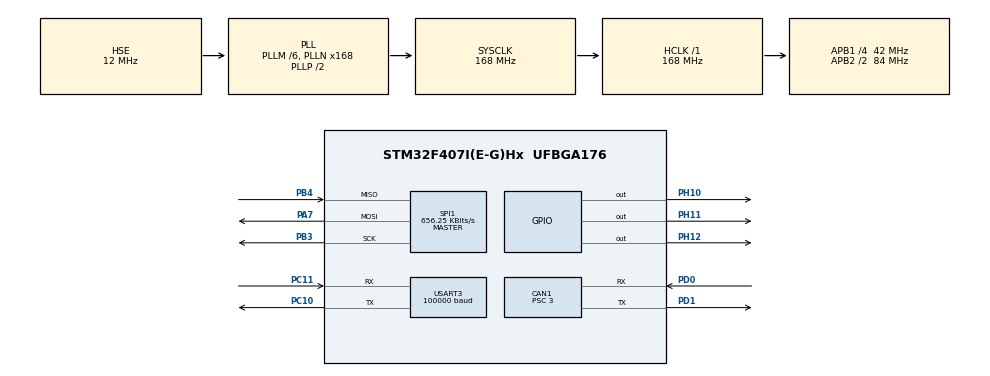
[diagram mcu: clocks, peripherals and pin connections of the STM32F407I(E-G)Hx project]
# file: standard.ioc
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CAN1.BS1=CAN_BS1_9TQ
CAN1.BS2=CAN_BS2_4TQ
CAN1.CalculateBaudRate=1000000
CAN1.CalculateTimeBit=1000
CAN1.CalculateTimeQuantum=71.42857142857143
CAN1.Prescaler=3
CAN1.TXFP=ENABLE
Dma.Request0=USART3_RX
Dma.USART3_RX.0.Direction=DMA_PERIPH_TO_MEMORY
Dma.USART3_RX.0.FIFOMode=DMA_FIFOMODE_DISABLE
Dma.USART3_RX.0.Instance=DMA1_Stream1
Dma.USART3_RX.0.MemDataAlignment=DMA_MDATAALIGN_BYTE
Dma.USART3_RX.0.MemInc=DMA_MINC_ENABLE
Dma.USART3_RX.0.Mode=DMA_CIRCULAR
Dma.USART3_RX.0.PeriphDataAlignment=DMA_PDATAALIGN_BYTE
Dma.USART3_RX.0.PeriphInc=DMA_PINC_DISABLE
Dma.USART3_RX.0.Priority=DMA_PRIORITY_VERY_HIGH
IWDG.Prescaler=IWDG_PRESCALER_64
IWDG.Reload=500
Mcu.Family=STM32F4
Mcu.Name=STM32F407I(E-G)Hx
Mcu.Package=UFBGA176
NVIC.CAN1_RX0_IRQn=true\:1\:0\:true\:false\:true\:true\:true
NVIC.CAN1_TX_IRQn=true\:1\:0\:true\:false\:true\:true\:true
NVIC.DMA1_Stream1_IRQn=true\:0\:0\:false\:false\:true\:false\:true
NVIC.PriorityGroup=NVIC_PRIORITYGROUP_4
NVIC.TIM6_DAC_IRQn=true\:1\:0\:true\:false\:true\:true\:true
NVIC.USART3_IRQn=true\:0\:0\:false\:false\:true\:true\:true
PA7.Mode=Full_Duplex_Master
PA7.Signal=SPI1_MOSI
PB3.Mode=Full_Duplex_Master
PB3.Signal=SPI1_SCK
PB4.Mode=Full_Duplex_Master
PB4.Signal=SPI1_MISO
PC10.Mode=Asynchronous
PC10.Signal=USART3_TX
PC11.Mode=Asynchronous
PC11.Signal=USART3_RX
PD0.Mode=CAN_Activate
PD0.Signal=CAN1_RX
PD1.Mode=CAN_Activate
PD1.Signal=CAN1_TX
PH0-OSC_IN.Mode=HSE-External-Oscillator
PH0-OSC_IN.Signal=RCC_OSC_IN
PH1-OSC_OUT.Mode=HSE-External-Oscillator
PH1-OSC_OUT.Signal=RCC_OSC_OUT
PH10.Signal=GPIO_Output
PH11.Signal=GPIO_Output
PH12.Signal=GPIO_Output
ProjectManager.HeapSize=0x200
ProjectManager.StackSize=0x400
ProjectManager.TargetToolchain=MDK-ARM V5
RCC.48MHZClocksFreq_Value=84000000
RCC.AHBFreq_Value=168000000
RCC.APB1CLKDivider=RCC_HCLK_DIV4
RCC.APB1Freq_Value=42000000
RCC.APB1TimFreq_Value=84000000
RCC.APB2CLKDivider=RCC_HCLK_DIV2
RCC.APB2Freq_Value=84000000
RCC.APB2TimFreq_Value=168000000
RCC.CortexFreq_Value=168000000
RCC.HCLKFreq_Value=168000000
RCC.HSE_VALUE=12000000
RCC.HSI_VALUE=16000000
RCC.LSE_VALUE=32768
RCC.PLLM=6
RCC.PLLN=168
RCC.PLLSourceVirtual=RCC_PLLSOURCE_HSE
RCC.SYSCLKFreq_VALUE=168000000
RCC.SYSCLKSource=RCC_SYSCLKSOURCE_PLLCLK
RCC.VCOOutputFreq_Value=336000000
SPI1.BaudRatePrescaler=SPI_BAUDRATEPRESCALER_128
SPI1.CalculateBaudRate=656.25 KBits/s
SPI1.Direction=SPI_DIRECTION_2LINES
SPI1.Mode=SPI_MODE_MASTER
SPI1.VirtualType=VM_MASTER
TIM6.AutoReloadPreload=TIM_AUTORELOAD_PRELOAD_DISABLE
TIM6.Period=1000-1
TIM6.Prescaler=84-1
USART3.BaudRate=100000
USART3.Mode=MODE_RX
USART3.Parity=PARITY_EVEN
USART3.VirtualMode=VM_ASYNC
USART3.WordLength=WORDLENGTH_9B
VP_IWDG_VS_IWDG.Mode=IWDG_Activate
VP_TIM6_VS_ClockSourceINT.Mode=Enable_Timer
board=custom

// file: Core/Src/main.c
/* USER CODE BEGIN Header */
/**
  ******************************************************************************
  * @file           : main.c
  * @brief          : Main program body
  ******************************************************************************
  * @attention
  *
  * Copyright (c) 2022 STMicroelectronics.
  * All rights reserved.
  *
  * This software is licensed under terms that can be found in the LICENSE file
  * in the root directory of this software component.
  * If no LICENSE file comes with this software, it is provided AS-IS.
  *
  ******************************************************************************
  */
/* USER CODE END Header */
#include "main.h"
#include "can.h"
#include "dma.h"
#include "iwdg.h"
#include "spi.h"
#include "tim.h"
#include "usart.h"
#include "gpio.h"

/* USER CODE BEGIN Includes */
#include "control_task.h"
#include "chassis_task.h"
#include "mode_task.h"
#include "imu_task.h"
#include "remote_ctrl.h"
#include "can_receive.h"
#include "bmi_receive.h"
#include "pid.h"
/* USER CODE END Includes */

void SystemClock_Config(void);

int main(void)
{

  /* MCU Configuration--------------------------------------------------------*/

  /* Reset of all peripherals, Initializes the Flash interface and the Systick. */
  HAL_Init();

  /* Configure the system clock */
  SystemClock_Config();

  /* Initialize all configured peripherals */
  MX_GPIO_Init();
  MX_DMA_Init();
  MX_CAN1_Init();
  MX_TIM6_Init();
  MX_USART3_UART_Init();
  MX_IWDG_Init();
  MX_SPI1_Init();
  /* USER CODE BEGIN 2 */
  Dbus_Init();
  PID_Init();
  BMI088_Init();
  CAN_Receive_Init();
  Mode_Init();
  Control_Init();

  /* USER CODE END 2 */

  /* Infinite loop */
  while (1)
  {

  }
}

void SystemClock_Config(void)
{
  RCC_OscInitTypeDef RCC_OscInitStruct = {0};
  RCC_ClkInitTypeDef RCC_ClkInitStruct = {0};

  /** Configure the main internal regulator output voltage
  */
  __HAL_RCC_PWR_CLK_ENABLE();
  __HAL_PWR_VOLTAGESCALING_CONFIG(PWR_REGULATOR_VOLTAGE_SCALE1);
  /** Initializes the RCC Oscillators according to the specified parameters
  * in the RCC_OscInitTypeDef structure.
  */
  RCC_OscInitStruct.OscillatorType = RCC_OSCILLATORTYPE_LSI|RCC_OSCILLATORTYPE_HSE;
  RCC_OscInitStruct.HSEState = RCC_HSE_ON;
  RCC_OscInitStruct.LSIState = RCC_LSI_ON;
  RCC_OscInitStruct.PLL.PLLState = RCC_PLL_ON;
  RCC_OscInitStruct.PLL.PLLSource = RCC_PLLSOURCE_HSE;
  RCC_OscInitStruct.PLL.PLLM = 6;
  RCC_OscInitStruct.PLL.PLLN = 168;
  RCC_OscInitStruct.PLL.PLLP = RCC_PLLP_DIV2;
  RCC_OscInitStruct.PLL.PLLQ = 4;
  if (HAL_RCC_OscConfig(&RCC_OscInitStruct) != HAL_OK)
  {
    Error_Handler();
  }
  /** Initializes the CPU, AHB and APB buses clocks
  */
  RCC_ClkInitStruct.ClockType = RCC_CLOCKTYPE_HCLK|RCC_CLOCKTYPE_SYSCLK
                              |RCC_CLOCKTYPE_PCLK1|RCC_CLOCKTYPE_PCLK2;
  RCC_ClkInitStruct.SYSCLKSource = RCC_SYSCLKSOURCE_PLLCLK;
  RCC_ClkInitStruct.AHBCLKDivider = RCC_SYSCLK_DIV1;
  RCC_ClkInitStruct.APB1CLKDivider = RCC_HCLK_DIV4;
  RCC_ClkInitStruct.APB2CLKDivider = RCC_HCLK_DIV2;

  if (HAL_RCC_ClockConfig(&RCC_ClkInitStruct, FLASH_LATENCY_5) != HAL_OK)
  {
    Error_Handler();
  }
}

/* USER CODE BEGIN 4 */

/**
 ***********************************************************************
 * @brief   	control loop
 * @param     {TIM_HandleTypeDef} *htim
 *   @arg
 * @return    {*}
 * @note
 ***********************************************************************
 */
void HAL_TIM_PeriodElapsedCallback(TIM_HandleTypeDef *htim)
{
    if (htim == (&htim6))
    {
		static int i = 0;
		if (i % 1000 == 1)
			  HAL_GPIO_TogglePin(GPIOH, GPIO_PIN_11);
		i++;
    }
    Control_Task();
}

/**
 ***********************************************************************
 * @brief    usart Rx callback
 * @param    UART_HandleTypeDef *huart
 * @note     check fml_dbus.c to get more info about FML_RC_Handler().
 ***********************************************************************
 */
void HAL_UART_RxCpltCallback(UART_HandleTypeDef *huart)
{
    if (huart == &DBUS_HUART)
        RC_Data_Handler(&rc, dbus_buff); // remote control
}

/**
 ***********************************************************************
 * @brief    CAN接收中断
 * @param    {CAN_HandleTypeDef} *hcan
 * @return   {*}
 * @note
 ***********************************************************************
 */
void HAL_CAN_RxFifo0MsgPendingCallback(CAN_HandleTypeDef* hcan)
{
	if (hcan == &hcan1)
	{
		CAN_Data_Process(hcan);
	}
  HAL_CAN_ActivateNotification(hcan, CAN_IT_RX_FIFO0_MSG_PENDING);
}

/* USER CODE END 4 */

void Error_Handler(void)
{
  __disable_irq();
  while (1)
  {
  }
}
